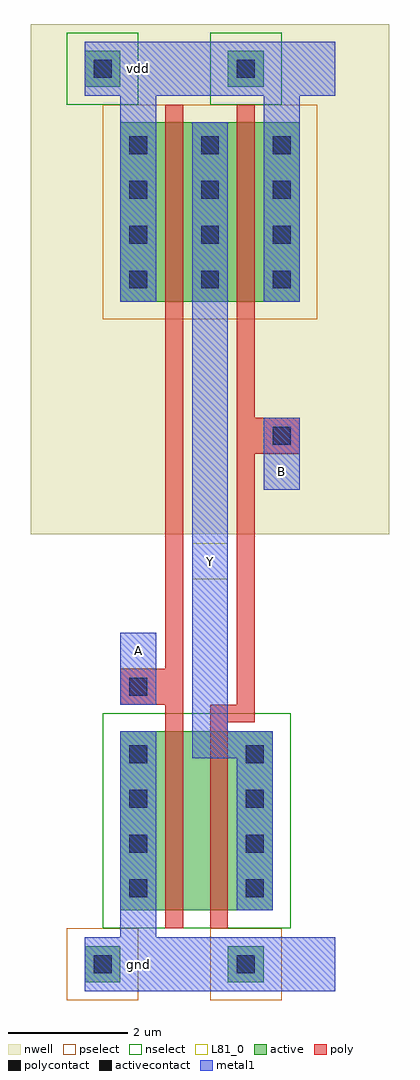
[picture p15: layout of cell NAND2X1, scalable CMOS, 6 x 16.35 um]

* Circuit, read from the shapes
.subckt NAND2X1 A B Y gnd vdd
M1 n1 A gnd gnd nfet w=3u l=0.3u
M2 Y B n1 gnd nfet w=3u l=0.3u
M3 Y A vdd vdd pfet w=3u l=0.3u
M4 vdd B Y vdd pfet w=3u l=0.3u
.ends

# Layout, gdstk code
import gdstk
lib = gdstk.Library(unit=1e-6, precision=1e-09)
def R(c, l, rs):  # rectangles x0, y0, x1, y1
    for r in rs: c.add(gdstk.rectangle(r[:2], r[2:], *l))
def A(c, l, x, y, w, h, nx, ny, dx, dy):  # array of equal rectangles
    R(c, l, [(x+i*dx, y+j*dy, x+i*dx+w, y+j*dy+h) for i in range(nx) for j in range(ny)])
nwell = (42, 0)
active = (43, 0)
pselect = (44, 0)
nselect = (45, 0)
poly = (46, 0)
polycontact = (47, 0)
activecontact = (48, 0)
metal1 = (49, 0)
L81_0 = (81, 0)

nand2x1 = lib.new_cell('NAND2X1')
R(nand2x1, nwell, [(-1.2,7.2,4.8,15.75)])
R(nand2x1, active, [(-0.3,-0.3,0.3,0.3), (2.1,-0.3,2.7,0.3), (0.3,0.9,2.85,3.9), (0.3,11.1,3.3,14.1), (-0.3,14.7,0.3,15.3), (2.1,14.7,2.7,15.3)])
R(nand2x1, pselect, [(-0.6,-0.6,0.6,0.6), (1.8,-0.6,3,0.6), (0,10.8,3.6,14.4)])
R(nand2x1, nselect, [(0,0.6,3.15,4.2), (-0.6,14.4,0.6,15.6), (1.8,14.4,3,15.6)])
R(nand2x1, poly, [(1.05,0.6,1.35,4.35), (1.8,0.6,2.1,4.05), (1.8,4.05,2.55,4.35), (0.3,4.35,1.35,4.95), (2.25,4.35,2.55,8.55), (1.05,4.95,1.35,14.4), (2.25,8.55,3.3,9.15), (2.25,9.15,2.55,14.4)])
R(nand2x1, polycontact, [(0.45,4.5,0.75,4.8), (2.85,8.7,3.15,9)])
A(nand2x1, activecontact, 0.45, 1.12, 0.3, 0.3, 1, 4, 0, 0.75)
A(nand2x1, activecontact, 2.4, 1.12, 0.3, 0.3, 1, 4, 0, 0.75)
A(nand2x1, activecontact, 0.45, 11.32, 0.3, 0.3, 3, 4, 1.2, 0.75)
R(nand2x1, activecontact, [(-0.15,-0.15,0.15,0.15), (2.25,-0.15,2.55,0.15), (-0.15,14.85,0.15,15.15), (2.25,14.85,2.55,15.15)])
R(nand2x1, metal1, [(-0.3,-0.45,3.9,0.45), (0.3,0.45,0.9,3.9), (2.25,0.9,2.85,3.45), (1.5,3.45,2.85,3.9), (1.5,3.9,2.1,14.1), (0.3,4.35,0.9,5.55), (2.7,7.95,3.3,9.15), (0.3,11.1,0.9,14.55), (2.7,11.1,3.3,14.55), (-0.3,14.55,3.9,15.45)])
R(nand2x1, L81_0, [(0.3,4.95,0.9,5.55), (1.5,6.45,2.1,7.05), (2.7,7.95,3.3,8.55)])
nand2x1.add(gdstk.Label('vdd', (0.6,15), layer=109, texttype=0))
nand2x1.add(gdstk.Label('Y', (1.8,6.75), layer=109, texttype=0))
nand2x1.add(gdstk.Label('gnd', (0.6,0), layer=109, texttype=0))
nand2x1.add(gdstk.Label('A', (0.6,5.25), layer=109, texttype=0))
nand2x1.add(gdstk.Label('B', (3,8.25), layer=109, texttype=0))

lib.write_gds('NAND2X1.gds')
